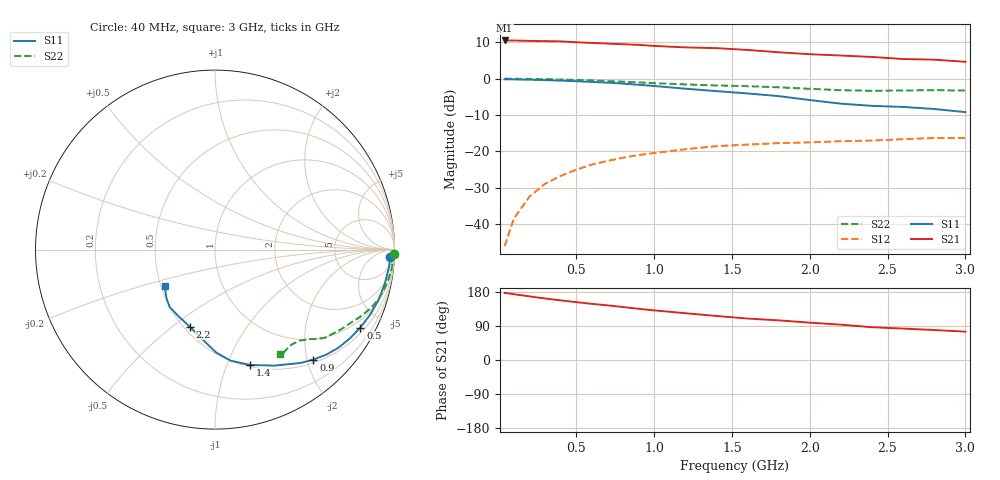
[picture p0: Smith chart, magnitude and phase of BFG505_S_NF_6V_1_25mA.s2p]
! Filename:  BFG505H.S2P  Version:  3.0
! Philips part #: BFG505  Date: Feb 1992
! Bias condition: Vce=6V, Ic=1.25mA
! IN LINE PINNING: same data as with cross emitter pinning.
#  MHz  S  MA  R  50
! Freq  S11  S21  S12  S22  !GUM [dB]
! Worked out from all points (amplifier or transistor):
!   21 points, 40 MHz to 3 GHz, reference 50 ohm
!   highest |S21| = 10.5 dB at 40 MHz (marker M1)
!   |S21| within 3 dB of that: start of sweep to 1.723 GHz
!   unconditionally stable (mu >= 1): nowhere
!   at 300 MHz: K = 0.11, MSG = 19.6 dB, |S12| = -28.9 dB
!   at 1 GHz: K = 0.31, MSG = 14.7 dB, |S12| = -20.4 dB
!   at 3 GHz: K = 0.86, MSG = 10.5 dB, |S12| = -16.3 dB
!   lowest NFmin = 1.20 dB at 900 MHz
!   S11 on the Smith chart (normalised r, x): 40 MHz: 20, -37; 500 MHz: 0.69, -3.86; 900 MHz: 0.56, -2.11; 1.4 GHz: 0.52, -1.21; 2.2 GHz: 0.54, -0.58; 3 GHz: 0.52, -0.24
40  0.978 -2.4  3.335 177.2  0.005 88.0  0.996 -1.3
100  0.974 -5.8  3.334 173.6  0.012 86.2  0.994 -3.3
200  0.965 -11.5  3.289 167.9  0.024 82.4  0.989 -6.6
300  0.953 -17.2  3.266 162.3  0.036 78.6  0.98 -9.8
400  0.937 -22.9  3.241 157.3  0.046 75.2  0.969 -12.7
500  0.919 -28.2  3.152 152.7  0.056 71.9  0.957 -15.7
600  0.9 -33.3  3.084 148.2  0.066 69.3  0.942 -18.4
700  0.879 -38.4  3.021 144.2  0.074 66.2  0.924 -20.9
800  0.853 -43.3  2.963 139.8  0.082 63.5  0.905 -23.2
900  0.822 -48.2  2.902 135.1  0.089 60.8  0.885 -25.5
1000  0.791 -53.0  2.807 131.0  0.095 58.3  0.865 -27.7
1200  0.726 -62.9  2.679 123.5  0.107 54.5  0.831 -32.3
1400  0.672 -73.1  2.616 116.2  0.118 51.2  0.804 -35.9
1600  0.625 -82.0  2.471 109.4  0.124 48.9  0.786 -38.7
1800  0.574 -89.3  2.295 104.6  0.13 47.6  0.758 -41.0
2000  0.507 -97.6  2.16 98.6  0.133 45.0  0.723 -43.6
2200  0.452 -108.2  2.071 93.3  0.138 42.7  0.692 -47.2
2400  0.422 -119.3  1.979 86.5  0.141 40.9  0.679 -51.4
2600  0.408 -128.3  1.854 82.9  0.147 41.3  0.686 -55.1
2800  0.382 -135.1  1.818 79.1  0.153 41.3  0.694 -57.0
3000  0.346 -144.0  1.699 74.8  0.153 41.1  0.683 -58.1
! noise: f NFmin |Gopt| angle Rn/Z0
900  1.2  0.664  20  0.87
2000  1.9  0.55  46  0.68
